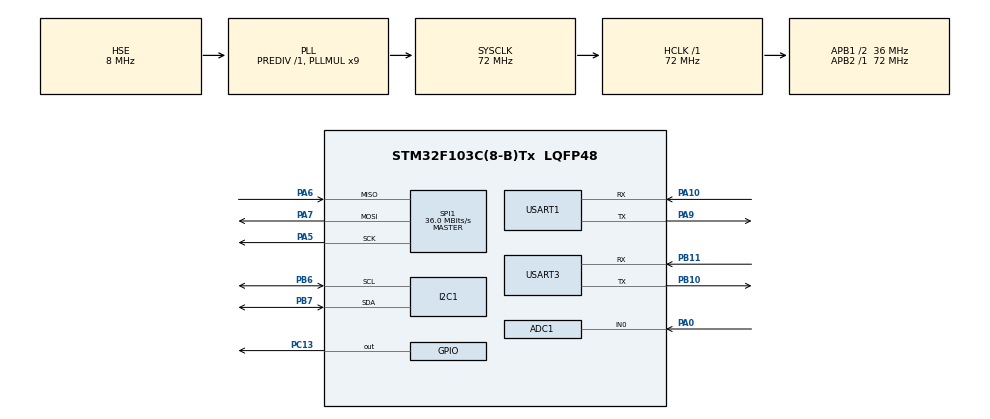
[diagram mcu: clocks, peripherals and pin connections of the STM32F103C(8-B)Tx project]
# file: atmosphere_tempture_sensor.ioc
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ADC1.Channel-0\#ChannelRegularConversion=ADC_CHANNEL_0
ADC1.NbrOfConversionFlag=1
ADC1.Rank-0\#ChannelRegularConversion=1
ADC1.SamplingTime-0\#ChannelRegularConversion=ADC_SAMPLETIME_1CYCLE_5
ADC1.master=1
Mcu.Family=STM32F1
Mcu.Name=STM32F103C(8-B)Tx
Mcu.Package=LQFP48
NVIC.PriorityGroup=NVIC_PRIORITYGROUP_4
PA0-WKUP.Signal=ADCx_IN0
PA10.Mode=Asynchronous
PA10.Signal=USART1_RX
PA13.Mode=Serial_Wire
PA13.Signal=SYS_JTMS-SWDIO
PA14.Mode=Serial_Wire
PA14.Signal=SYS_JTCK-SWCLK
PA4.Signal=SPI1_NSS
PA5.Mode=Full_Duplex_Master
PA5.Signal=SPI1_SCK
PA6.Mode=Full_Duplex_Master
PA6.Signal=SPI1_MISO
PA7.Mode=Full_Duplex_Master
PA7.Signal=SPI1_MOSI
PA9.Mode=Asynchronous
PA9.Signal=USART1_TX
PB10.Mode=Asynchronous
PB10.Signal=USART3_TX
PB11.Mode=Asynchronous
PB11.Signal=USART3_RX
PB6.Mode=I2C
PB6.Signal=I2C1_SCL
PB7.Mode=I2C
PB7.Signal=I2C1_SDA
PC13-TAMPER-RTC.Signal=GPIO_Output
PD0-OSC_IN.Mode=HSE-External-Oscillator
PD0-OSC_IN.Signal=RCC_OSC_IN
PD1-OSC_OUT.Mode=HSE-External-Oscillator
PD1-OSC_OUT.Signal=RCC_OSC_OUT
ProjectManager.HeapSize=0x200
ProjectManager.StackSize=0x400
ProjectManager.TargetToolchain=MDK-ARM V5.32
RCC.ADCPresc=RCC_ADCPCLK2_DIV6
RCC.AHBFreq_Value=72000000
RCC.APB1CLKDivider=RCC_HCLK_DIV2
RCC.APB1Freq_Value=36000000
RCC.APB1TimFreq_Value=72000000
RCC.APB2Freq_Value=72000000
RCC.APB2TimFreq_Value=72000000
RCC.HCLKFreq_Value=72000000
RCC.PLLMUL=RCC_PLL_MUL9
RCC.PLLSourceVirtual=RCC_PLLSOURCE_HSE
RCC.SYSCLKFreq_VALUE=72000000
RCC.SYSCLKSource=RCC_SYSCLKSOURCE_PLLCLK
RCC.USBFreq_Value=72000000
SH.ADCx_IN0.0=ADC1_IN0,IN0
SPI1.BaudRatePrescaler=SPI_BAUDRATEPRESCALER_2
SPI1.CalculateBaudRate=36.0 MBits/s
SPI1.Direction=SPI_DIRECTION_2LINES
SPI1.Mode=SPI_MODE_MASTER
SPI1.VirtualType=VM_MASTER
USART1.VirtualMode=VM_ASYNC
USART3.VirtualMode=VM_ASYNC
board=custom

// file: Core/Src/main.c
/* USER CODE BEGIN Header */
/**
  ******************************************************************************
  * @file           : main.c
  * @brief          : Main program body
  ******************************************************************************
  * @attention
  *
  * Copyright (c) 2026 STMicroelectronics.
  * All rights reserved.
  *
  * This software is licensed under terms that can be found in the LICENSE file
  * in the root directory of this software component.
  * If no LICENSE file comes with this software, it is provided AS-IS.
  *
  ******************************************************************************
  */
/* USER CODE END Header */
#include "main.h"

/* USER CODE BEGIN Includes */
#include "Hardware/MQ135.h"
#include "Hardware/OLED.h"
#include "Hardware/W25QXX.h"
#include "Hardware/AHT20.h"
#include "Hardware/BMP280.h"
#include <stdio.h>
#include <string.h>
/* USER CODE END Includes */

/* USER CODE BEGIN PD */
/* MQ135 校准数据 Flash 存储 (W25QXX 起始扇区) */
#define MQ135_CALIB_ADDR   0x00000000UL
#define MQ135_CALIB_MAGIC  0x4D513136UL  /* "MQ16" - v2: RLOAD 实测 4.4kΩ 后校准格式 */

typedef struct {
    uint32_t magic;
    float    rzero;
    uint32_t checksum;
} MQ135_Calib_t;

/* OLED 显示模式 (建议界面与传感器多页界面交替) */
#define DISPLAY_MODE_SUGGESTION  0
#define DISPLAY_MODE_SENSOR      1
#define DISPLAY_SWITCH_MS        10000  /* 每个界面停留 10 秒 */

/* 调试开关: 1=将 USART1 收到的原始行转发到 USART3 (VOFA+)，验证接收；验证后改 0 */
#define DEBUG_RX_FWD  0
/* USER CODE END PD */

ADC_HandleTypeDef hadc1;

I2C_HandleTypeDef hi2c1;

SPI_HandleTypeDef hspi1;

UART_HandleTypeDef huart1;
UART_HandleTypeDef huart3;

/* USER CODE BEGIN PV */
uint8_t uart_tx_buffer[256];
uint8_t uart_rx_buffer[256];
uint8_t system_ready = 0;
uint32_t last_sample_time = 0;
uint32_t last_page_switch_time = 0;
uint8_t current_display_page = 0;
MQ135_Data_t mq135_data;
volatile uint8_t force_calib = 0;  /* 强制校准标志（串口接收'1'触发） */

/* 室外空气质量数据（从 ESP32 获取） */
typedef struct {
    float co2;          /* 室外 CO2 (PPM) */
    float co;           /* 室外 CO (PPM) */
    float alcohol;      /* 室外酒精 (PPM) */
    float toluene;      /* 室外甲苯 (PPM) */
    float nh3;          /* 室外氨气 (PPM) */
    float acetone;      /* 室外丙酮 (PPM) */
    uint8_t valid;      /* 数据是否有效 */
} OutdoorData_t;

OutdoorData_t outdoor_data = {0};

/* AHT20 温湿度 + BMP280 气压数据 */
float env_temperature = 25.0f;   /* 室内温度 (℃) */
float env_humidity = 50.0f;      /* 室内湿度 (%RH) */
float env_pressure = 1013.25f;   /* 气压 (hPa) */
float env_altitude = 0.0f;       /* 海拔 (m) */
uint8_t aht20_ok = 0;            /* AHT20 初始化成功标志 */
uint8_t bmp280_ok = 0;           /* BMP280 初始化成功标志 */

/* 接收 ESP32 建议数据的缓冲区 */
char esp_suggestion_buffer[512];
volatile uint8_t rx_index = 0;
volatile uint8_t suggestion_ready = 0;   /* 收到完整数据，待主循环解析 */
uint32_t suggestion_hold_until = 0;       /* 建议显示保持到该时刻 */
uint8_t display_mode = DISPLAY_MODE_SENSOR;    /* 当前 OLED 显示模式 */
uint8_t suggestion_pending = 0;                /* 传感器界面期间收到建议，待切换显示 */
uint32_t display_until = 0;                    /* 当前显示模式截止时刻 */

/* ESP32 融合数据回显 (调试对比用) */
float fusion_co2 = 0.0f;
float fusion_co = 0.0f;
uint8_t fusion_valid = 0;
/* USER CODE END PV */

void SystemClock_Config(void);
static void MX_GPIO_Init(void);
static void MX_ADC1_Init(void);
static void MX_I2C1_Init(void);
static void MX_SPI1_Init(void);
static void MX_USART1_UART_Init(void);
static void MX_USART3_UART_Init(void);
/* USER CODE BEGIN PFP */
/* 函数声明 */
void SendDataToESP32(MQ135_Data_t* data);
void SendDataToVOFA(MQ135_Data_t* data);
void DisplayDataOnOLED(MQ135_Data_t* data);
void DisplaySuggestionOnOLED(const char* suggestion);
void ParseESP32FusionData(const char* data);
void GenerateAirQualitySuggestion(MQ135_Data_t* indoor, OutdoorData_t* outdoor, char* buffer, int len);
const char* GetAirQualityString(MQ135_AirQuality_t quality);
/* USER CODE END PFP */

/* USER CODE BEGIN 0 */
/**
  * @brief  R0 校准函数
  * @note   在清洁空气中运行，获取准确的 R0 值
  *         校准过程：采集 10 次 Rs 值取平均，作为 R0
  * @retval 校准后的 R0 值 (kOhm)
  */
float CalibrateR0(void)
{
    float rs_sum = 0.0f;
    uint8_t i;

    /* 显示校准提示 */
    OLED_Clear(&hi2c1);
    OLED_ShowString(&hi2c1, 0, 0, "Calibrating...");
    OLED_ShowString(&hi2c1, 0, 2, "Please wait 10s");

    /* 预热 2 秒 */
    HAL_Delay(2000);

    /* 采集 10 次 Rs 值 */
    for (i = 0; i < 10; i++)
    {
        rs_sum += MQ135_CalculateRS(MQ135_ReadADC());
        HAL_Delay(1000);  /* 每秒采集一次 */

        /* 显示进度 */
        char progress[16];
        sprintf(progress, "Progress: %d/10", i + 1);
        OLED_ShowString(&hi2c1, 0, 4, progress);
    }

    /* 计算平均 R0 */
    float r0 = rs_sum / 10.0f;

    /* 显示校准结果 */
    OLED_Clear(&hi2c1);
    OLED_ShowString(&hi2c1, 0, 0, "Calibration Done");
    char result[32];
    sprintf(result, "R0 = %.2f kOhm", r0);
    OLED_ShowString(&hi2c1, 0, 2, result);
    OLED_ShowString(&hi2c1, 0, 4, "Save to Flash?");
    OLED_ShowString(&hi2c1, 0, 6, "Auto saving...");

    /* 自动保存，无需等待 */
    HAL_Delay(1000);

    /* 保存到 Flash */
    W25QXX_Init();
    W25QXX_Write(0x000000, (uint8_t*)&r0, sizeof(float));

    OLED_ShowString(&hi2c1, 0, 7, "Saved!");
    HAL_Delay(2000);

    return r0;
}

/**
  * @brief  发送数据到 VOFA+ 上位机（USART3）
  * @note   使用 ASCII 可视化格式，直接在串口终端显示形象的仪表盘
  *         包含：室内数据 + 室外数据 + 对比分析 + 建议
  */
void SendDataToVOFA(MQ135_Data_t* data)
{
    int len;

    /* 空气质量等级字符串 */
    const char* aq_str[] = {"Excellent", "Good", "Moderate", "Poor", "Bad", "Hazardous"};

    /* 第一行：标题栏 */
    len = sprintf((char*)uart_tx_buffer,
                  "\r\n========== Air Quality Monitor (Debug) ==========\r\n");
    HAL_UART_Transmit(&huart3, uart_tx_buffer, len, 100);

    /* STM32 原始计算数据 */
    len = sprintf((char*)uart_tx_buffer,
                  ">>> STM32 RAW (ADC/V/Rs/RSR/R0):\r\n");
    HAL_UART_Transmit(&huart3, uart_tx_buffer, len, 100);
    len = sprintf((char*)uart_tx_buffer,
                  "  ADC=%d | V=%.3fV | Rs=%.1fk | RSR=%.3f | R0=%.1fk\r\n",
                  data->adc_value, data->voltage, data->rs, data->rs_ratio, MQ135_GetRZero());
    HAL_UART_Transmit(&huart3, uart_tx_buffer, len, 100);

    /* 第二行：室内数据标题 */
    len = sprintf((char*)uart_tx_buffer,
                  "\r\n>>> INDOOR (STM32 calc):\r\n");
    HAL_UART_Transmit(&huart3, uart_tx_buffer, len, 100);

    /* 第三行：室内 CO2 + CO */
    len = sprintf((char*)uart_tx_buffer,
                  "  [CO2] %.1f PPM  |  [CO] %.1f PPM\r\n",
                  data->co2_ppm, data->co_ppm);
    HAL_UART_Transmit(&huart3, uart_tx_buffer, len, 100);

    /* 第四行：室内酒精 + 甲苯 */
    len = sprintf((char*)uart_tx_buffer,
                  "  [Alcohol] %.1f PPM  |  [Toluene] %.1f PPM\r\n",
                  data->alcohol_ppm, data->toluene_ppm);
    HAL_UART_Transmit(&huart3, uart_tx_buffer, len, 100);

    /* 第五行：室内氨气 + 丙酮 */
    len = sprintf((char*)uart_tx_buffer,
                  "  [NH3] %.1f PPM  |  [Acetone] %.1f PPM\r\n",
                  data->nh4_ppm, data->acetone_ppm);
    HAL_UART_Transmit(&huart3, uart_tx_buffer, len, 100);

    /* 第六行：环境温湿度/气压 (AHT20+BMP280) */
    len = sprintf((char*)uart_tx_buffer,
                  "  [Temp] %.1f C  |  [Humi] %.1f %%  |  [Pres] %.1f hPa  |  [Alt] %.0f m\r\n",
                  env_temperature, env_humidity, env_pressure, env_altitude);
    HAL_UART_Transmit(&huart3, uart_tx_buffer, len, 100);

    /* ESP32 融合数据回显对比 */
    len = sprintf((char*)uart_tx_buffer,
                  "\r\n>>> FUSION (ESP32 echo):\r\n");
    HAL_UART_Transmit(&huart3, uart_tx_buffer, len, 100);
    if (fusion_valid)
    {
        len = sprintf((char*)uart_tx_buffer,
                      "  STM32 CO2: %.1f  |  ESP32 CO2: %.1f  |  Diff: %+.1f\r\n",
                      data->co2_ppm, fusion_co2, data->co2_ppm - fusion_co2);
        HAL_UART_Transmit(&huart3, uart_tx_buffer, len, 100);
        len = sprintf((char*)uart_tx_buffer,
                      "  STM32 CO: %.1f  |  ESP32 CO: %.1f  |  Diff: %+.1f\r\n",
                      data->co_ppm, fusion_co, data->co_ppm - fusion_co);
        HAL_UART_Transmit(&huart3, uart_tx_buffer, len, 100);
    }
    else
    {
        len = sprintf((char*)uart_tx_buffer,
                      "  No fusion data yet\r\n");
        HAL_UART_Transmit(&huart3, uart_tx_buffer, len, 100);
    }

    /* 第六行：室外数据标题 */
    len = sprintf((char*)uart_tx_buffer,
                  "\r\n>>> OUTDOOR (ESP32):\r\n");
    HAL_UART_Transmit(&huart3, uart_tx_buffer, len, 100);

    if (outdoor_data.valid)
    {
        /* 第七行：室外 CO2 + CO */
        len = sprintf((char*)uart_tx_buffer,
                      "  [CO2] %.1f PPM  |  [CO] %.1f PPM\r\n",
                      outdoor_data.co2, outdoor_data.co);
        HAL_UART_Transmit(&huart3, uart_tx_buffer, len, 100);

        /* 第八行：室外酒精 + 甲苯 */
        len = sprintf((char*)uart_tx_buffer,
                      "  [Alcohol] %.1f PPM  |  [Toluene] %.1f PPM\r\n",
                      outdoor_data.alcohol, outdoor_data.toluene);
        HAL_UART_Transmit(&huart3, uart_tx_buffer, len, 100);

        /* 第九行：室外氨气 + 丙酮 */
        len = sprintf((char*)uart_tx_buffer,
                      "  [NH3] %.1f PPM  |  [Acetone] %.1f PPM\r\n",
                      outdoor_data.nh3, outdoor_data.acetone);
        HAL_UART_Transmit(&huart3, uart_tx_buffer, len, 100);
    }
    else
    {
        len = sprintf((char*)uart_tx_buffer,
                      "  Waiting for ESP32 data...\r\n");
        HAL_UART_Transmit(&huart3, uart_tx_buffer, len, 100);
    }

    /* 第十行：对比分析 */
    len = sprintf((char*)uart_tx_buffer,
                  "\r\n>>> COMPARISON:\r\n");
    HAL_UART_Transmit(&huart3, uart_tx_buffer, len, 100);

    if (outdoor_data.valid)
    {
        float co2_diff = data->co2_ppm - outdoor_data.co2;
        float co_diff = data->co_ppm - outdoor_data.co;

        len = sprintf((char*)uart_tx_buffer,
                      "  CO2 Diff: %+.1f PPM  |  CO Diff: %+.1f PPM\r\n",
                      co2_diff, co_diff);
        HAL_UART_Transmit(&huart3, uart_tx_buffer, len, 100);
    }
    else
    {
        len = sprintf((char*)uart_tx_buffer,
                      "  No outdoor data for comparison\r\n");
        HAL_UART_Transmit(&huart3, uart_tx_buffer, len, 100);
    }

    /* 第十一行：建议 */
    char suggestion[64];
    GenerateAirQualitySuggestion(data, &outdoor_data, suggestion, sizeof(suggestion));

    len = sprintf((char*)uart_tx_buffer,
                  "\r\n>>> SUGGESTION:\r\n  %s\r\n",
                  suggestion);
    HAL_UART_Transmit(&huart3, uart_tx_buffer, len, 100);

    /* 第十二行：空气质量等级 */
    len = sprintf((char*)uart_tx_buffer,
                  "\r\n[Quality] %s (%d)\r\n",
                  aq_str[data->air_quality], data->air_quality);
    HAL_UART_Transmit(&huart3, uart_tx_buffer, len, 100);

    /* 第十三行：传感器状态 */
    len = sprintf((char*)uart_tx_buffer,
                  "[Sensor] V=%.2fV, Rs=%.1fkOhm, Ratio=%.3f\r\n",
                  data->voltage, data->rs, data->rs_ratio);
    HAL_UART_Transmit(&huart3, uart_tx_buffer, len, 100);

    /* 第十四行：分隔线 */
    len = sprintf((char*)uart_tx_buffer,
                  "===========================================\r\n");
    HAL_UART_Transmit(&huart3, uart_tx_buffer, len, 100);
}

/**
  * @brief  发送数据到 ESP32（包含原始数据供 ESP32 独立计算）
  * @note   数据格式：MQ135:ADC=%d,V=%.3f,RS=%.2f,RSR=%.3f,CO2=%.2f,CO=%.2f,ALC=%.2f,TOL=%.2f,NH4=%.2f,ACE=%.2f,AQ=%d\r\n
  *         ESP32 接收后使用相同算法独立计算，然后进行数据融合提高精度
  */
void SendDataToESP32(MQ135_Data_t* data)
{
    /* 格式化数据：STM32 计算结果 + 原始数据 + 环境温湿度/气压（供 ESP32 分析） */
    int len = sprintf((char*)uart_tx_buffer,
                     "MQ135:ADC=%d,V=%.3f,RS=%.2f,RSR=%.3f,CO2=%.2f,CO=%.2f,ALC=%.2f,TOL=%.2f,NH4=%.2f,ACE=%.2f,AQ=%d,TEMP=%.2f,HUMI=%.2f,PRES=%.2f\r\n",
                     data->adc_value,
                     data->voltage,
                     data->rs,
                     data->rs_ratio,
                     data->co2_ppm,
                     data->co_ppm,
                     data->alcohol_ppm,
                     data->toluene_ppm,
                     data->nh4_ppm,
                     data->acetone_ppm,
                     data->air_quality,
                     env_temperature,
                     env_humidity,
                     env_pressure);

    /* 通过 USART1 发送 */
    HAL_UART_Transmit(&huart1, uart_tx_buffer, len, 1000);
}

/**
  * @brief  解析 ESP32 返回的融合数据
  * @note   数据格式：FUSION:CO2=%.2f,CO=%.2f,ALC=%.2f,TOL=%.2f,NH4=%.2f,ACE=%.2f,AQ=%d\r\n
  */
void ParseESP32FusionData(const char* data)
{
    if (strstr(data, "FUSION:") != NULL)
    {
        /* 解析融合后的数据 */
        float fused_co2, fused_co, fused_alc, fused_tol, fused_nh4, fused_ace;
        int fused_aq;

        if (sscanf(data, "FUSION:CO2=%f,CO=%f,ALC=%f,TOL=%f,NH4=%f,ACE=%f,AQ=%d",
                   &fused_co2, &fused_co, &fused_alc, &fused_tol, &fused_nh4, &fused_ace, &fused_aq) == 7)
        {
            /* 保存 ESP32 融合回显值 (调试对比用) */
            fusion_co2 = fused_co2;
            fusion_co = fused_co;
            fusion_valid = 1;

            /* 更新显示数据为融合后的值 */
            mq135_data.co2_ppm = fused_co2;
            mq135_data.co_ppm = fused_co;
            mq135_data.alcohol_ppm = fused_alc;
            mq135_data.toluene_ppm = fused_tol;
            mq135_data.nh4_ppm = fused_nh4;
            mq135_data.acetone_ppm = fused_ace;
            mq135_data.air_quality = (MQ135_AirQuality_t)fused_aq;

            /* 标记融合数据已更新（主循环负责显示） */
            display_until = HAL_GetTick() + DISPLAY_SWITCH_MS;  /* 保持显示 10 秒 */
        }
    }
    else if (strstr(data, "OUTDOOR:") != NULL)
    {
        /* 解析室外数据 */
        if (sscanf(data, "OUTDOOR:CO2=%f,CO=%f,ALC=%f,TOL=%f,NH4=%f,ACE=%f",
                   &outdoor_data.co2, &outdoor_data.co, &outdoor_data.alcohol,
                   &outdoor_data.toluene, &outdoor_data.nh3, &outdoor_data.acetone) == 6)
        {
            outdoor_data.valid = 1;
        }
    }
}

/**
  * @brief  生成空气质量建议
  * @param  indoor: 室内数据
  * @param  outdoor: 室外数据
  * @param  buffer: 输出缓冲区
  * @param  len: 缓冲区长度
  */
void GenerateAirQualitySuggestion(MQ135_Data_t* indoor, OutdoorData_t* outdoor, char* buffer, int len)
{
    if (!outdoor->valid)
    {
        snprintf(buffer, len, "No outdoor data");
        return;
    }

    float co2_diff = indoor->co2_ppm - outdoor->co2;
    float co_diff = indoor->co_ppm - outdoor->co;

    /* 综合室内外差异 + 环境温湿度给出建议 */
    if (co2_diff > 200.0f)
    {
        snprintf(buffer, len, "High CO2! Open window");
    }
    else if (co_diff > 20.0f)
    {
        snprintf(buffer, len, "High CO! Check gas");
    }
    else if (indoor->co2_ppm > 1000.0f)
    {
        snprintf(buffer, len, "Ventilate room");
    }
    else if (env_humidity > 75.0f)
    {
        snprintf(buffer, len, "Humid %.0f%%! Ventilate", env_humidity);
    }
    else if (env_temperature > 32.0f)
    {
        snprintf(buffer, len, "Hot %.1fC! Ventilate", env_temperature);
    }
    else if (co2_diff < -100.0f)
    {
        snprintf(buffer, len, "Good ventilation");
    }
    else
    {
        snprintf(buffer, len, "Air quality OK");
    }
}

/**
  * @brief  在 OLED 上显示数据（多页循环显示所有参数）
  * @note   第1页：CO2 + CO 浓度（主要指标）
  *         第2页：酒精 + 甲苯（有机挥发物）
  *         第3页：氨气 + 丙酮（工业气体）
  *         第4页：传感器状态（电压 + Rs + R0）
  *         第5页：原始数据（ADC + Rs/R0 + 校准状态）
  *         第6页：室内外对比
  *         第7页：数据融合状态
  *         每3秒自动切换一页
  */
void DisplayDataOnOLED(MQ135_Data_t* data)
{
    char str_buf[32];
    uint32_t current_time = HAL_GetTick();

    /* 每 5 秒切换一页（3 页循环：气体/ VOC / 环境） */
    if ((current_time - last_page_switch_time) >= 5000)
    {
        last_page_switch_time = current_time;
        current_display_page = (current_display_page + 1) % 3;
    }

    /* 清屏 */
    OLED_Clear(&hi2c1);

    switch(current_display_page)
    {
        /* ===== 第 1 页：核心气体 ===== */
        case 0:
            OLED_ShowString(&hi2c1, 0, 0, "Air:");
            OLED_ShowString(&hi2c1, 30, 0, GetAirQualityString(data->air_quality));

            OLED_ShowString(&hi2c1, 0, 16, "CO2:");
            sprintf(str_buf, "%.0f PPM", data->co2_ppm);
            OLED_ShowString(&hi2c1, 30, 16, str_buf);

            OLED_ShowString(&hi2c1, 0, 32, "CO:");
            sprintf(str_buf, "%.1f PPM", data->co_ppm);
            OLED_ShowString(&hi2c1, 24, 32, str_buf);

            OLED_ShowString(&hi2c1, 0, 48, "[1/3] Gases");
            break;

        /* ===== 第 2 页：VOC 气体 ===== */
        case 1:
            OLED_ShowString(&hi2c1, 0, 0, "VOC Gases");

            OLED_ShowString(&hi2c1, 0, 16, "Alc:");
            sprintf(str_buf, "%.1f", data->alcohol_ppm);
            OLED_ShowString(&hi2c1, 30, 16, str_buf);

            OLED_ShowString(&hi2c1, 0, 24, "Tol:");
            sprintf(str_buf, "%.1f", data->toluene_ppm);
            OLED_ShowString(&hi2c1, 30, 24, str_buf);

            OLED_ShowString(&hi2c1, 0, 32, "NH3:");
            sprintf(str_buf, "%.1f", data->nh4_ppm);
            OLED_ShowString(&hi2c1, 30, 32, str_buf);

            OLED_ShowString(&hi2c1, 0, 40, "Ace:");
            sprintf(str_buf, "%.1f", data->acetone_ppm);
            OLED_ShowString(&hi2c1, 30, 40, str_buf);

            OLED_ShowString(&hi2c1, 0, 48, "[2/3] VOC");
            break;

        /* ===== 第 3 页：环境参数 ===== */
        case 2:
            OLED_ShowString(&hi2c1, 0, 0, "Environment");

            OLED_ShowString(&hi2c1, 0, 16, "Temp:");
            sprintf(str_buf, "%.1f C", env_temperature);
            OLED_ShowString(&hi2c1, 36, 16, str_buf);

            OLED_ShowString(&hi2c1, 0, 24, "Humi:");
            sprintf(str_buf, "%.1f %%", env_humidity);
            OLED_ShowString(&hi2c1, 36, 24, str_buf);

            OLED_ShowString(&hi2c1, 0, 32, "Pres:");
            sprintf(str_buf, "%.0f hPa", env_pressure);
            OLED_ShowString(&hi2c1, 36, 32, str_buf);

            OLED_ShowString(&hi2c1, 0, 48, "[3/3] Env");
            break;

        default:
            current_display_page = 0;
            break;
    }

    /* 刷新显示 */
    OLED_Refresh(&hi2c1);
}

/**
  * @brief  获取空气质量等级字符串
  */
const char* GetAirQualityString(MQ135_AirQuality_t quality)
{
    switch(quality)
    {
        case MQ135_AIR_QUALITY_EXCELLENT: return "Excellent";
        case MQ135_AIR_QUALITY_GOOD:      return "Good";
        case MQ135_AIR_QUALITY_MODERATE:  return "Moderate";
        case MQ135_AIR_QUALITY_POOR:      return "Poor";
        case MQ135_AIR_QUALITY_BAD:       return "Bad";
        case MQ135_AIR_QUALITY_HAZARDOUS: return "Hazardous";
        default: return "Unknown";
    }
}

/**
  * @brief  UART 接收完成回调函数
  * @note   接收来自 ESP32 的建议数据
  *         仅在中断中缓冲字节并置标志，不执行 I2C/OLED 等阻塞操作，
  *         实际显示由主循环调用 DisplaySuggestionOnOLED() 完成。
  */
void HAL_UART_RxCpltCallback(UART_HandleTypeDef *huart)
{
    if (huart->Instance == USART1)
    {
        uint8_t c = uart_rx_buffer[0];

        /* 忽略 \r，仅保留纯文本 */
        if (c != '\r')
        {
            /* 将接收到的字节存入缓冲区 */
            if (rx_index < sizeof(esp_suggestion_buffer) - 1)
            {
                esp_suggestion_buffer[rx_index++] = (char)c;
            }

            /* 检测换行符，表示一条完整消息 */
            if (c == '\n' || rx_index >= sizeof(esp_suggestion_buffer) - 1)
            {
                esp_suggestion_buffer[rx_index] = '\0';
                suggestion_ready = 1;   /* 通知主循环显示 */
                rx_index = 0;
            }
        }

        /* 继续接收下一个字节 */
        HAL_UART_Receive_IT(&huart1, &uart_rx_buffer[0], 1);
    }
}

/**
  * @brief  UART 错误回调
  * @note   发生溢出/帧错误后重新启动接收，防止通信停滞
  */
void HAL_UART_ErrorCallback(UART_HandleTypeDef *huart)
{
    if (huart->Instance == USART1)
    {
        __HAL_UART_CLEAR_OREFLAG(huart);
        HAL_UART_Receive_IT(&huart1, &uart_rx_buffer[0], 1);
    }
}

/**
  * @brief  在 OLED 上显示建议文本 + 融合数据
  * @note   由主循环调用；suggestion 为生成的建议文本
  */
void DisplaySuggestionOnOLED(const char* suggestion)
{
    char local[128];
    char str_buf[32];

    if (suggestion == NULL)
    {
        return;
    }

    strncpy(local, suggestion, sizeof(local) - 1);
    local[sizeof(local) - 1] = '\0';

    /* 建议最多 2 行（42 字符），保持界面简洁 */
    if (strlen(local) > 42)
    {
        local[42] = '\0';
    }

    OLED_Clear(&hi2c1);
    OLED_ShowString(&hi2c1, 0, 0, "Suggestion:");
    OLED_ShowString(&hi2c1, 0, 8, local);

    /* 底部显示核心数据：CO2 + 温湿度 */
    OLED_ShowString(&hi2c1, 0, 40, "CO2:");
    sprintf(str_buf, "%.0f PPM", mq135_data.co2_ppm);
    OLED_ShowString(&hi2c1, 30, 40, str_buf);
    OLED_ShowString(&hi2c1, 0, 48, "T/H:");
    sprintf(str_buf, "%.1fC / %.0f%%", env_temperature, env_humidity);
    OLED_ShowString(&hi2c1, 30, 48, str_buf);

    OLED_Refresh(&hi2c1);
}
/* USER CODE END 0 */

int main(void)
{

  /* USER CODE BEGIN 1 */
  MQ135_Calib_t calib;      /* MQ135 校准数据 (存 Flash) */
  uint8_t need_calib = 1;   /* 是否需要重新校准 */
  /* USER CODE END 1 */

  /* MCU Configuration--------------------------------------------------------*/

  /* Reset of all peripherals, Initializes the Flash interface and the Systick. */
  HAL_Init();

  /* Configure the system clock */
  SystemClock_Config();

  /* Initialize all configured peripherals */
  MX_GPIO_Init();
  MX_ADC1_Init();
  MX_I2C1_Init();
  MX_SPI1_Init();
  MX_USART1_UART_Init();
  MX_USART3_UART_Init();
  /* USER CODE BEGIN 2 */
  /* 初始化 W25QXX Flash */
  if (W25QXX_Init() == W25QXX_OK)
  {
      /* Flash 初始化成功 */
  }

  /* 初始化 OLED 显示屏 */
  OLED_Init(&hi2c1);
  OLED_ShowString(&hi2c1, 0, 0, "System Init...");
  OLED_Refresh(&hi2c1);

  /* 初始化 MQ-135 传感器 */
  MQ135_Init(&hadc1);

  /* 初始化 AHT20 温湿度传感器 (I2C1, 与 OLED 共总线) */
  aht20_ok = AHT20_Init(&hi2c1);

  /* 初始化 BMP280 气压传感器 (I2C1, 自动探测地址) */
  bmp280_ok = BMP280_Init(&hi2c1);

  /* 从 Flash 读取上次校准的 R0，有效则免校准直接使用 */
  if (W25QXX_Read(MQ135_CALIB_ADDR, (uint8_t*)&calib, sizeof(calib)) == W25QXX_OK)
  {
      union { float f; uint32_t u; } conv;
      conv.f = calib.rzero;
      if (calib.magic == MQ135_CALIB_MAGIC
          && calib.checksum == (MQ135_CALIB_MAGIC ^ conv.u)
          && calib.rzero > 1.0f && calib.rzero < 1000.0f)
      {
          MQ135_SetRZero(calib.rzero);
          need_calib = 0;
      }
  }

  /* 显示当前 R0 值 */
  char r0_str[32];
  sprintf(r0_str, "Current R0=%.1f", MQ135_GetRZero());
  OLED_ShowString(&hi2c1, 0, 48, r0_str);
  OLED_Refresh(&hi2c1);
  HAL_Delay(2000);

  /* 检查串口命令：接收'1'则强制重新校准 */
  uint8_t rx_byte = 0;
  if (HAL_UART_Receive(&huart3, &rx_byte, 1, 0) == HAL_OK)
  {
      if (rx_byte == '1')
      {
          force_calib = 1;
          OLED_Clear(&hi2c1);
          OLED_ShowString(&hi2c1, 0, 0, "Command Received");
          OLED_ShowString(&hi2c1, 0, 16, "Force Calibrate");
          OLED_Refresh(&hi2c1);
          HAL_Delay(1000);
      }
  }

  if (need_calib)
  {
      /* 热机：MQ135 断电后需预热读数才稳定，先等待 10 秒 */
      OLED_Clear(&hi2c1);
      OLED_ShowString(&hi2c1, 0, 0, "Warming up...");
      OLED_ShowString(&hi2c1, 0, 16, "Keep fresh air");
      OLED_ShowString(&hi2c1, 0, 32, "10 seconds");
      OLED_Refresh(&hi2c1);
      HAL_Delay(10000);

      /* 上电自动校准 R0：需在清洁空气中进行（期间请勿对传感器吹气/遮挡） */
      OLED_Clear(&hi2c1);
      OLED_ShowString(&hi2c1, 0, 0, "Calibrating MQ135");
      OLED_ShowString(&hi2c1, 0, 16, "Fresh air only");
      OLED_ShowString(&hi2c1, 0, 32, "Please wait");
      OLED_Refresh(&hi2c1);
      MQ135_CalibrateRZero();

      /* 保存校准值到 Flash（先擦除扇区再写入） */
      union { float f; uint32_t u; } conv;
      conv.f = MQ135_GetRZero();
      calib.magic = MQ135_CALIB_MAGIC;
      calib.rzero = conv.f;
      calib.checksum = MQ135_CALIB_MAGIC ^ conv.u;
      W25QXX_SectorErase(MQ135_CALIB_ADDR);
      W25QXX_Write(MQ135_CALIB_ADDR, (uint8_t*)&calib, sizeof(calib));
  }

  /* 显示初始化完成 */
  OLED_Clear(&hi2c1);
  OLED_ShowString(&hi2c1, 0, 0, "System Ready");
  OLED_ShowString(&hi2c1, 0, 16, "STM32+ESP32");
  OLED_ShowString(&hi2c1, 0, 32, "Air Quality");
  OLED_Refresh(&hi2c1);
  HAL_Delay(1000);

  system_ready = 1;

  /* 使能 USART1 全局中断（CubeMX 工程未勾选，手动补上） */
  HAL_NVIC_SetPriority(USART1_IRQn, 5, 0);
  HAL_NVIC_EnableIRQ(USART1_IRQn);

  /* 启动 UART 接收中断，用于接收 ESP32 发送的建议数据 */
  HAL_UART_Receive_IT(&huart1, &uart_rx_buffer[0], 1);

  /* 初始 OLED 显示模式：先显示 10 秒传感器多页界面 */
  display_mode = DISPLAY_MODE_SENSOR;
  display_until = HAL_GetTick() + DISPLAY_SWITCH_MS;
  /* USER CODE END 2 */

  /* Infinite loop */
  /* USER CODE BEGIN WHILE */
  while (1)
  {
    /* 检查串口命令：接收'1'则强制重新校准 */
    uint8_t rx_byte = 0;
    if (HAL_UART_Receive(&huart3, &rx_byte, 1, 0) == HAL_OK)
    {
        if (rx_byte == '1')
        {
            force_calib = 1;
        }
    }

    /* 执行强制校准 */
    if (force_calib)
    {
        force_calib = 0;
        OLED_Clear(&hi2c1);
        OLED_ShowString(&hi2c1, 0, 0, "Command Received");
        OLED_ShowString(&hi2c1, 0, 16, "Force Calibrate");
        OLED_Refresh(&hi2c1);
        HAL_Delay(1000);

        /* 热机 10 秒 */
        OLED_Clear(&hi2c1);
        OLED_ShowString(&hi2c1, 0, 0, "Warming up...");
        OLED_ShowString(&hi2c1, 0, 16, "Keep fresh air");
        OLED_ShowString(&hi2c1, 0, 32, "10 seconds");
        OLED_Refresh(&hi2c1);
        HAL_Delay(10000);

        /* 校准 R0 */
        OLED_Clear(&hi2c1);
        OLED_ShowString(&hi2c1, 0, 0, "Calibrating MQ135");
        OLED_ShowString(&hi2c1, 0, 16, "Fresh air only");
        OLED_ShowString(&hi2c1, 0, 32, "Please wait");
        OLED_Refresh(&hi2c1);
        MQ135_CalibrateRZero();

        /* 保存到 Flash */
        union { float f; uint32_t u; } conv;
        conv.f = MQ135_GetRZero();
        calib.magic = MQ135_CALIB_MAGIC;
        calib.rzero = conv.f;
        calib.checksum = MQ135_CALIB_MAGIC ^ conv.u;
        W25QXX_SectorErase(MQ135_CALIB_ADDR);
        W25QXX_Write(MQ135_CALIB_ADDR, (uint8_t*)&calib, sizeof(calib));

        /* 显示校准完成 */
        OLED_Clear(&hi2c1);
        char result[32];
        sprintf(result, "R0 = %.2f kOhm", MQ135_GetRZero());
        OLED_ShowString(&hi2c1, 0, 0, "Calibration Done");
        OLED_ShowString(&hi2c1, 0, 16, result);
        OLED_ShowString(&hi2c1, 0, 32, "Saved to Flash");
        OLED_Refresh(&hi2c1);
        HAL_Delay(3000);
    }

    /* 解析 ESP32 数据（FUSION:/OUTDOOR:） */
    if (suggestion_ready)
    {
        char rx_line[512];
        char suggestion[128];

        suggestion_ready = 0;

        /* 复制缓冲区（关中断避免竞争），解析 FUSION:/OUTDOOR: 数据 */
        __disable_irq();
        strncpy(rx_line, esp_suggestion_buffer, sizeof(rx_line) - 1);
        rx_line[sizeof(rx_line) - 1] = '\0';
        __enable_irq();
        ParseESP32FusionData(rx_line);

#if DEBUG_RX_FWD
        /* 调试：将收到的原始行转发到 VOFA+ 验证接收 */
        HAL_UART_Transmit(&huart3, (uint8_t*)"[RX] ", 5, 100);
        HAL_UART_Transmit(&huart3, (uint8_t*)rx_line, strlen(rx_line), 100);
        HAL_UART_Transmit(&huart3, (uint8_t*)"\r\n", 2, 100);
#endif

        /* 建议界面模式下实时刷新建议；传感器界面模式下挂起待切换 */
        if (display_mode == DISPLAY_MODE_SUGGESTION)
        {
            GenerateAirQualitySuggestion(&mq135_data, &outdoor_data, suggestion, sizeof(suggestion));
            DisplaySuggestionOnOLED(suggestion);
        }
        else
        {
            suggestion_pending = 1;
        }
    }

    /* OLED 建议/传感器界面交替（各 10 秒） */
    if (HAL_GetTick() >= display_until)
    {
        if (display_mode == DISPLAY_MODE_SUGGESTION)
        {
            /* 建议界面 10 秒结束，切到传感器多页界面 */
            display_mode = DISPLAY_MODE_SENSOR;
            display_until = HAL_GetTick() + DISPLAY_SWITCH_MS;
        }
        else
        {
            /* 传感器界面 10 秒结束，切到建议界面（若期间有建议到达） */
            display_mode = DISPLAY_MODE_SUGGESTION;
            display_until = HAL_GetTick() + DISPLAY_SWITCH_MS;
            if (suggestion_pending)
            {
                suggestion_pending = 0;
                char suggestion[128];
                GenerateAirQualitySuggestion(&mq135_data, &outdoor_data, suggestion, sizeof(suggestion));
                DisplaySuggestionOnOLED(suggestion);
            }
        }
    }

        /* 每 2 秒采样一次并发送到 ESP32（不受显示模式影响，保持数据实时） */
    if ((HAL_GetTick() - last_sample_time) >= 2000)
    {
        last_sample_time = HAL_GetTick();

        /* 读取传感器数据 */
        if (MQ135_GetData(&mq135_data) == 0)
        {
            /* 读取 AHT20/BMP280 环境数据（失败保持上次值） */
            if (aht20_ok)
            {
                float t, h;
                if (AHT20_Read_Data(&hi2c1, &t, &h))
                {
                    env_temperature = t;
                    env_humidity = h;
                }
            }
            if (bmp280_ok)
            {
                float p, t, alt;
                if (BMP280_GetData(&hi2c1, &p, &t, &alt))
                {
                    env_pressure = p;
                    env_temperature = t;   /* BMP280 温度更精确，优先使用 */
                    env_altitude = alt;
                }
            }

            /* 设置 MQ135 温湿度补偿 */
            MQ135_SetEnvironment(env_temperature, env_humidity);

            /* 始终发送数据到 ESP32 */
            SendDataToESP32(&mq135_data);

            /* 发送数据到 VOFA+ 上位机 */
            SendDataToVOFA(&mq135_data);

            /* 传感器界面模式下刷新显示（内部每 3 秒翻页） */
            if (display_mode == DISPLAY_MODE_SENSOR)
            {
                DisplayDataOnOLED(&mq135_data);
            }
        }
    }
    /* USER CODE END WHILE */

  }
}

void SystemClock_Config(void)
{
  RCC_OscInitTypeDef RCC_OscInitStruct = {0};
  RCC_ClkInitTypeDef RCC_ClkInitStruct = {0};
  RCC_PeriphCLKInitTypeDef PeriphClkInit = {0};

  /** Initializes the RCC Oscillators according to the specified parameters
  * in the RCC_OscInitTypeDef structure.
  */
  RCC_OscInitStruct.OscillatorType = RCC_OSCILLATORTYPE_HSE;
  RCC_OscInitStruct.HSEState = RCC_HSE_ON;
  RCC_OscInitStruct.HSEPredivValue = RCC_HSE_PREDIV_DIV1;
  RCC_OscInitStruct.HSIState = RCC_HSI_ON;
  RCC_OscInitStruct.PLL.PLLState = RCC_PLL_ON;
  RCC_OscInitStruct.PLL.PLLSource = RCC_PLLSOURCE_HSE;
  RCC_OscInitStruct.PLL.PLLMUL = RCC_PLL_MUL9;
  if (HAL_RCC_OscConfig(&RCC_OscInitStruct) != HAL_OK)
  {
    Error_Handler();
  }

  /** Initializes the CPU, AHB and APB buses clocks
  */
  RCC_ClkInitStruct.ClockType = RCC_CLOCKTYPE_HCLK|RCC_CLOCKTYPE_SYSCLK
                              |RCC_CLOCKTYPE_PCLK1|RCC_CLOCKTYPE_PCLK2;
  RCC_ClkInitStruct.SYSCLKSource = RCC_SYSCLKSOURCE_PLLCLK;
  RCC_ClkInitStruct.AHBCLKDivider = RCC_SYSCLK_DIV1;
  RCC_ClkInitStruct.APB1CLKDivider = RCC_HCLK_DIV2;
  RCC_ClkInitStruct.APB2CLKDivider = RCC_HCLK_DIV1;

  if (HAL_RCC_ClockConfig(&RCC_ClkInitStruct, FLASH_LATENCY_2) != HAL_OK)
  {
    Error_Handler();
  }
  PeriphClkInit.PeriphClockSelection = RCC_PERIPHCLK_ADC;
  PeriphClkInit.AdcClockSelection = RCC_ADCPCLK2_DIV6;
  if (HAL_RCCEx_PeriphCLKConfig(&PeriphClkInit) != HAL_OK)
  {
    Error_Handler();
  }
}

static void MX_ADC1_Init(void)
{

  ADC_ChannelConfTypeDef sConfig = {0};

  /** Common config
  */
  hadc1.Instance = ADC1;
  hadc1.Init.ScanConvMode = ADC_SCAN_DISABLE;
  hadc1.Init.ContinuousConvMode = DISABLE;
  hadc1.Init.DiscontinuousConvMode = DISABLE;
  hadc1.Init.ExternalTrigConv = ADC_SOFTWARE_START;
  hadc1.Init.DataAlign = ADC_DATAALIGN_RIGHT;
  hadc1.Init.NbrOfConversion = 1;
  if (HAL_ADC_Init(&hadc1) != HAL_OK)
  {
    Error_Handler();
  }

  /** Configure Regular Channel
  */
  sConfig.Channel = ADC_CHANNEL_0;
  sConfig.Rank = ADC_REGULAR_RANK_1;
  sConfig.SamplingTime = ADC_SAMPLETIME_1CYCLE_5;
  if (HAL_ADC_ConfigChannel(&hadc1, &sConfig) != HAL_OK)
  {
    Error_Handler();
  }

}

static void MX_I2C1_Init(void)
{

  hi2c1.Instance = I2C1;
  hi2c1.Init.ClockSpeed = 100000;
  hi2c1.Init.DutyCycle = I2C_DUTYCYCLE_2;
  hi2c1.Init.OwnAddress1 = 0;
  hi2c1.Init.AddressingMode = I2C_ADDRESSINGMODE_7BIT;
  hi2c1.Init.DualAddressMode = I2C_DUALADDRESS_DISABLE;
  hi2c1.Init.OwnAddress2 = 0;
  hi2c1.Init.GeneralCallMode = I2C_GENERALCALL_DISABLE;
  hi2c1.Init.NoStretchMode = I2C_NOSTRETCH_DISABLE;
  if (HAL_I2C_Init(&hi2c1) != HAL_OK)
  {
    Error_Handler();
  }

}

static void MX_SPI1_Init(void)
{

  /* SPI1 parameter configuration*/
  hspi1.Instance = SPI1;
  hspi1.Init.Mode = SPI_MODE_MASTER;
  hspi1.Init.Direction = SPI_DIRECTION_2LINES;
  hspi1.Init.DataSize = SPI_DATASIZE_8BIT;
  hspi1.Init.CLKPolarity = SPI_POLARITY_LOW;
  hspi1.Init.CLKPhase = SPI_PHASE_1EDGE;
  hspi1.Init.NSS = SPI_NSS_SOFT;
  hspi1.Init.BaudRatePrescaler = SPI_BAUDRATEPRESCALER_2;
  hspi1.Init.FirstBit = SPI_FIRSTBIT_MSB;
  hspi1.Init.TIMode = SPI_TIMODE_DISABLE;
  hspi1.Init.CRCCalculation = SPI_CRCCALCULATION_DISABLE;
  hspi1.Init.CRCPolynomial = 10;
  if (HAL_SPI_Init(&hspi1) != HAL_OK)
  {
    Error_Handler();
  }

}

static void MX_USART1_UART_Init(void)
{

  huart1.Instance = USART1;
  huart1.Init.BaudRate = 115200;
  huart1.Init.WordLength = UART_WORDLENGTH_8B;
  huart1.Init.StopBits = UART_STOPBITS_1;
  huart1.Init.Parity = UART_PARITY_NONE;
  huart1.Init.Mode = UART_MODE_TX_RX;
  huart1.Init.HwFlowCtl = UART_HWCONTROL_NONE;
  huart1.Init.OverSampling = UART_OVERSAMPLING_16;
  if (HAL_UART_Init(&huart1) != HAL_OK)
  {
    Error_Handler();
  }

}

static void MX_USART3_UART_Init(void)
{
  GPIO_InitTypeDef GPIO_InitStruct = {0};

  /* 使能 USART3 时钟 */
  __HAL_RCC_USART3_CLK_ENABLE();
  __HAL_RCC_GPIOB_CLK_ENABLE();

  /* 配置 PB10 为 USART3_TX */
  GPIO_InitStruct.Pin = GPIO_PIN_10;
  GPIO_InitStruct.Mode = GPIO_MODE_AF_PP;
  GPIO_InitStruct.Speed = GPIO_SPEED_FREQ_HIGH;
  HAL_GPIO_Init(GPIOB, &GPIO_InitStruct);

  /* 配置 PB11 为 USART3_RX */
  GPIO_InitStruct.Pin = GPIO_PIN_11;
  GPIO_InitStruct.Mode = GPIO_MODE_INPUT;
  GPIO_InitStruct.Pull = GPIO_PULLUP;
  HAL_GPIO_Init(GPIOB, &GPIO_InitStruct);

  huart3.Instance = USART3;
  huart3.Init.BaudRate = 115200;
  huart3.Init.WordLength = UART_WORDLENGTH_8B;
  huart3.Init.StopBits = UART_STOPBITS_1;
  huart3.Init.Parity = UART_PARITY_NONE;
  huart3.Init.Mode = UART_MODE_TX_RX;
  huart3.Init.HwFlowCtl = UART_HWCONTROL_NONE;
  huart3.Init.OverSampling = UART_OVERSAMPLING_16;
  if (HAL_UART_Init(&huart3) != HAL_OK)
  {
    Error_Handler();
  }

}

static void MX_GPIO_Init(void)
{
  GPIO_InitTypeDef GPIO_InitStruct = {0};

  /* GPIO Ports Clock Enable */
  __HAL_RCC_GPIOC_CLK_ENABLE();
  __HAL_RCC_GPIOD_CLK_ENABLE();
  __HAL_RCC_GPIOA_CLK_ENABLE();
  __HAL_RCC_GPIOB_CLK_ENABLE();

  /*Configure GPIO pin Output Level */
  HAL_GPIO_WritePin(GPIOC, GPIO_PIN_13, GPIO_PIN_RESET);

  /*Configure GPIO pin : PC13 */
  GPIO_InitStruct.Pin = GPIO_PIN_13;
  GPIO_InitStruct.Mode = GPIO_MODE_OUTPUT_PP;
  GPIO_InitStruct.Pull = GPIO_NOPULL;
  GPIO_InitStruct.Speed = GPIO_SPEED_FREQ_LOW;
  HAL_GPIO_Init(GPIOC, &GPIO_InitStruct);

}

void Error_Handler(void)
{
  __disable_irq();
  while (1)
  {
  }
}
